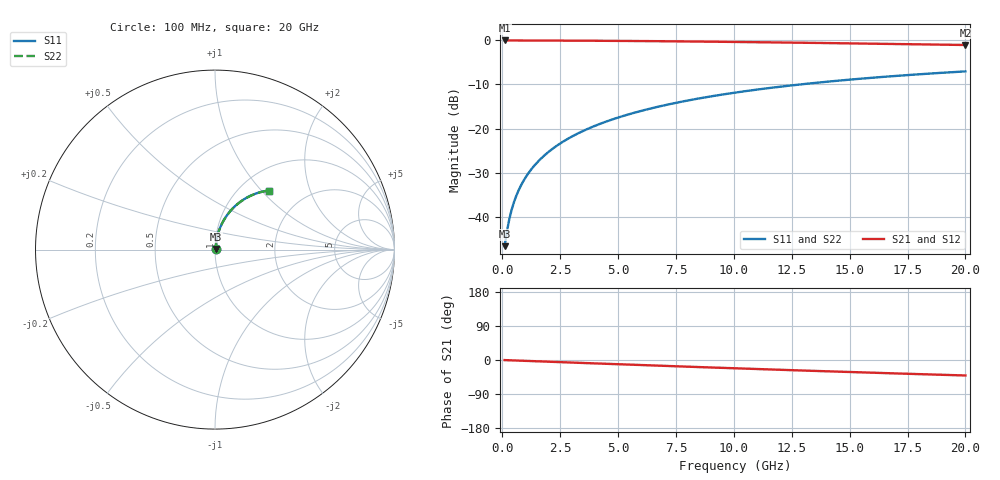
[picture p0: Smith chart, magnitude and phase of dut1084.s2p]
! Touchstone file exported from HFSS 2026.1.0
!  File:  C:/ffzhzh/LocalFiles/Ansys_Project_Files/temp_train_BSMRDL_1084_1783174501_18472.aedt
!  Generated:  10:16:14 PM Jul  4, 2026
!  Design:  BSMRDL
!  Project:  temp_train_BSMRDL_1084_1783174501_18472
! Variables:
!  h_bsmrdl = 3.24um
!  h_ox = 20um
!  h_rdl = 5um
!  h_sub = 80um
!  h_tmrdl = 5um
!  h_tsv = 80um
!  h_via = 3um
!  l_bsmrdl = 536.16um
!  l_sub = 936.16um
!  l_tmrdl = 200um
!  m_sub = 200um
!  pitch = 52.37um
!  r_tsv = 6um
!  s_tmrdl = 10um
!  w_bsmrdl = 16.76um
!  w_sub = 500um
!  w_tmrdl = 12um
!  x_tsv_center1 = 206um
!  x_tsv_center2 = 758.92um
!  x_tsv_center3 = 970.92um
!  x_tsv_center4 = 1523.84um
!  x_tsv_center5 = 1735.84um
!  x_tsv_center6 = 2288.76um
# GHz S MA R 50.000000
! Terminal data exported
! Port[1] = BSM_RDL1_1_T1
! Port[2] = BSM_RDL1_1_T2
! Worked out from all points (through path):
!   200 points, 100 MHz to 20 GHz, reference 50 ohm
!   highest |S21| = -0.03 dB at 100 MHz (marker M1); lowest = -1.1 dB at 20 GHz (marker M2)
!   group delay of S21, straight-line fit = 5.69 ps
!   lowest |S11| = -46.7 dB at 100 MHz (marker M3), VSWR 1.01, Z = 50.4 + j0.287 ohm
!   |S11| at or under -10 dB: start of sweep to 12.88 GHz
!   |S22| runs from -46.7 to -7.0 dB; largest |S21 - S12| = 2.6e-15
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0.1  0.004634 38.0  0.9964 -0.2  0.9964 -0.2  0.004634 38.0
! Gamma 0 0 0 0
! Port Impedance 50 0 50 0
0.2  0.006808 56.4  0.9963 -0.5  0.9963 -0.5  0.006808 56.4
0.3  0.009314 65.0  0.9961 -0.7  0.9961 -0.7  0.009314 65.0
0.4  0.01191 69.8  0.996 -0.9  0.996 -0.9  0.01191 69.8
0.5  0.01453 72.7  0.9959 -1.2  0.9959 -1.2  0.01453 72.7
0.6  0.01716 74.7  0.9957 -1.4  0.9957 -1.4  0.01716 74.7
0.8  0.02244 77.3  0.9955 -1.8  0.9955 -1.8  0.02244 77.3
1.1  0.03039 79.2  0.9952 -2.5  0.9952 -2.5  0.0304 79.2
1.5  0.04104 80.3  0.9947 -3.4  0.9947 -3.4  0.04104 80.3
1.8  0.04904 80.6  0.9942 -4.1  0.9942 -4.1  0.04904 80.5
2.1  0.05704 80.5  0.9937 -4.7  0.9937 -4.7  0.05704 80.5
2.7  0.073 80.1  0.9925 -6.1  0.9925 -6.1  0.073 80.1
3.5  0.09413 79.0  0.9904 -7.9  0.9904 -7.9  0.09413 79.0
4.2  0.1124 77.8  0.9882 -9.4  0.9882 -9.4  0.1124 77.8
5  0.1331 76.3  0.9853 -11.2  0.9853 -11.2  0.1331 76.3
5.9  0.156 74.6  0.9815 -13.1  0.9815 -13.1  0.156 74.5
6.8  0.1784 72.8  0.9772 -15.1  0.9772 -15.1  0.1784 72.7
8.3  0.2147 69.7  0.9692 -18.3  0.9692 -18.3  0.2147 69.7
10.1  0.2563 66.1  0.9583 -22.0  0.9583 -22.0  0.2563 66.1
13.4  0.3268 59.7  0.9355 -28.6  0.9355 -28.6  0.3268 59.7
16.7  0.3895 53.6  0.9106 -34.9  0.9106 -34.9  0.3895 53.5
20  0.4443 47.8  0.885 -40.8  0.885 -40.8  0.4443 47.7
